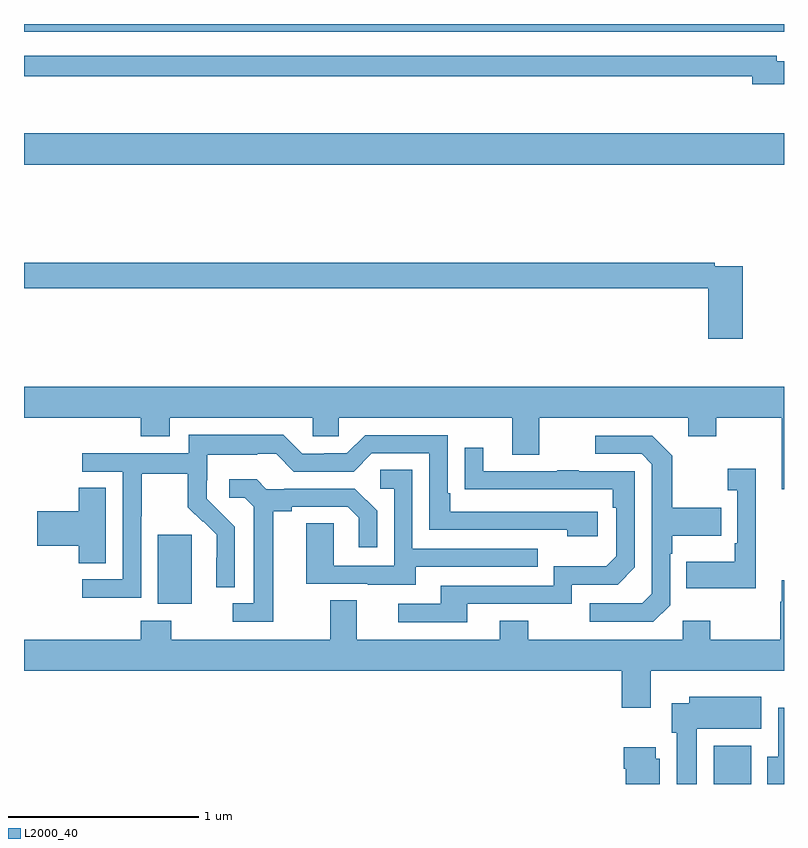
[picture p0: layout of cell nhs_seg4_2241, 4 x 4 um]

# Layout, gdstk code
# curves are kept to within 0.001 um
import gdstk
lib = gdstk.Library(unit=1e-6, precision=1e-09)
def R(c, l, rs):  # rectangles x0, y0, x1, y1
    for r in rs: c.add(gdstk.rectangle(r[:2], r[2:], *l))
def P(c, l, *ps):  # polygons
    for p in ps: c.add(gdstk.Polygon(p, *l))
L2000_40 = (2000, 40)

nhs_seg4_2241 = lib.new_cell('nhs_seg4_2241')
R(nhs_seg4_2241, L2000_40, [(230.63,786.9,230.827,787.102), (227.705,787.85,227.884,788.211), (227,790.16,231,790.324), (227,790.86,231,790.9)])
P(nhs_seg4_2241, L2000_40, [(231,790.705),(230.962,790.705),(230.962,790.734),(227,790.734),(227,790.626),(230.834,790.626),(230.834,790.583),(231,790.583)],
  [(230.783,789.624),(230.636,789.624),(230.636,789.644),(227,789.644),(227,789.508),(230.6,789.508),(230.6,789.243),(230.783,789.243)],
  [(231,788.992),(227,788.992),(227,788.828),(227.615,788.828),(227.615,788.729),(227.767,788.729),(227.767,788.828),(228.519,788.828),(228.519,788.73),(228.657,788.73),(228.657,788.828),(229.571,788.828),(229.571,788.634),(229.711,788.634),(229.711,788.828),(230.495,788.828),(230.495,788.729),(230.643,788.729),(230.643,788.828),(230.987,788.828),(230.987,788.451),(231,788.451)],
  [(227.616,788.308),(227.619,788.308),(227.619,788.532),(227.863,788.532),(227.863,788.357),(227.94,788.28),(227.943,788.283),(228.014,788.213),(228.014,788.09),(228.012,788.09),(228.012,787.936),(228.108,787.936),(228.108,788.254),(227.962,788.402),(227.962,788.499),(227.964,788.499),(227.964,788.633),(228.227,788.633),(228.227,788.637),(228.327,788.637),(228.42,788.544),(228.735,788.544),(228.831,788.64),(229.134,788.64),(229.134,788.238),(229.859,788.238),(229.859,788.204),(230.02,788.204),(230.02,788.334),(229.243,788.334),(229.243,788.431),(229.23,788.431),(229.23,788.736),(228.795,788.736),(228.699,788.64),(228.581,788.64),(228.581,788.637),(228.465,788.637),(228.365,788.737),(227.868,788.737),(227.868,788.64),(227.307,788.64),(227.307,788.544),(227.52,788.544),(227.52,787.977),(227.307,787.977),(227.307,787.879),(227.616,787.879)],
  [(230.4,787.842),(230.4,788.111),(230.413,788.111),(230.413,788.207),(230.669,788.207),(230.669,788.355),(230.413,788.355),(230.413,788.627),(230.307,788.733),(230.007,788.733),(230.007,788.637),(230.25,788.637),(230.304,788.583),(230.304,787.902),(230.253,787.851),(229.977,787.851),(229.977,787.755),(230.313,787.755)],
  [(229.333,787.848),(229.884,787.848),(229.884,787.95),(230.124,787.95),(230.214,788.04),(230.214,788.547),(229.919,788.547),(229.919,788.552),(229.807,788.552),(229.807,788.547),(229.417,788.547),(229.417,788.671),(229.321,788.671),(229.321,788.452),(230.098,788.451),(230.098,788.354),(230.118,788.354),(230.118,788.1),(230.065,788.047),(229.788,788.047),(229.788,787.944),(229.193,787.944),(229.193,787.848),(228.969,787.848),(228.969,787.752),(229.333,787.752)],
  [(230.852,788.56),(230.703,788.56),(230.703,788.447),(230.754,788.447),(230.754,788.167),(230.742,788.167),(230.742,788.071),(230.485,788.071),(230.485,787.931),(230.852,787.931)],
  [(229.063,788.043),(229.703,788.043),(229.703,788.139),(229.044,788.139),(229.044,788.555),(228.876,788.555),(228.876,788.454),(228.948,788.454),(228.948,788.049),(228.63,788.049),(228.63,788.273),(228.485,788.273),(228.485,787.953),(228.809,787.953),(228.809,787.949),(229.063,787.949)],
  [(228.313,788.336),(228.409,788.336),(228.409,788.358),(228.704,788.358),(228.761,788.301),(228.761,788.145),(228.858,788.145),(228.858,788.338),(228.742,788.454),(228.37,788.454),(228.37,788.451),(228.276,788.451),(228.224,788.503),(228.081,788.503),(228.081,788.406),(228.162,788.406),(228.209,788.359),(228.209,787.851),(228.099,787.851),(228.099,787.755),(228.313,787.755)],
  [(227.431,788.459),(227.288,788.459),(227.288,788.336),(227.07,788.336),(227.07,788.153),(227.288,788.153),(227.288,788.062),(227.431,788.062)],
  [(230.299,787.496),(231,787.496),(231,787.972),(230.987,787.972),(230.987,787.859),(230.98,787.859),(230.98,787.66),(230.613,787.66),(230.613,787.759),(230.466,787.759),(230.466,787.66),(229.653,787.66),(229.653,787.759),(229.505,787.759),(229.505,787.66),(228.751,787.66),(228.751,787.868),(228.611,787.868),(228.611,787.66),(227.775,787.66),(227.775,787.759),(227.615,787.759),(227.615,787.66),(227,787.66),(227,787.496),(230.147,787.496),(230.147,787.302),(230.299,787.302)],
  [(230.542,787.19),(230.881,787.19),(230.881,787.36),(230.501,787.36),(230.501,787.324),(230.408,787.324),(230.408,787.17),(230.435,787.17),(230.435,786.9),(230.542,786.9)],
  [(231,787.302),(230.969,787.302),(230.969,787.044),(230.912,787.044),(230.912,786.9),(231,786.9)],
  [(230.347,787.032),(230.326,787.032),(230.326,787.093),(230.156,787.093),(230.156,786.98),(230.168,786.98),(230.168,786.9),(230.347,786.9)])

lib.write_gds('nhs_seg4_2241.gds')
